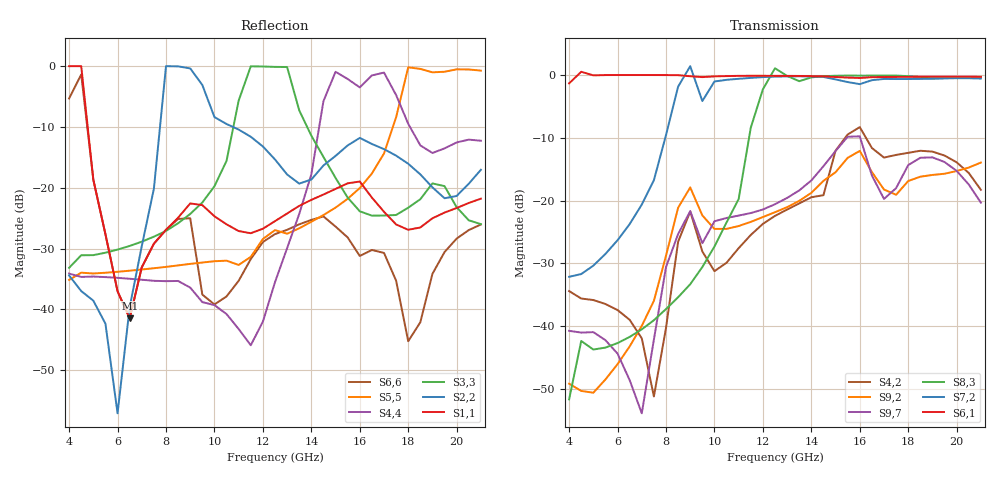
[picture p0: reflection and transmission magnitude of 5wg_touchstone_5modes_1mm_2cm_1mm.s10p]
! S-parameter export from POSTFEKO
! Filename: circular_5wg_5modes_1mm_2cm_1mm
! Creation date: 2020-01-18 23:31:34
# Hz S MA R  5.0000000E+01
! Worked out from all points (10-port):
!   35 points, 4 GHz to 21 GHz, reference 50 ohm
!   strongest paths, dB at 4 GHz, 8 GHz, 12.5 GHz, 17 GHz, 21 GHz:
!     S6,1: -1.3, 0.0, -0.1, -0.3, -0.3
!     S7,2: -32.2, -9.6, -0.3, -0.6, -0.6
!     S8,3: -51.7, -37.3, 1.1, -0.1, -0.4
!     S9,7: -40.8, -30.6, -20.6, -19.7, -20.3
!     S9,2: -49.2, -28.8, -21.9, -18.3, -14.0
!     S4,2: -34.4, -40.3, -22.5, -13.2, -18.3
!   lowest |S11| = -41.5 dB at 6.5 GHz (marker M1), VSWR 1.02, Z = 49.4 - j0.568 ohm
!   |S11| at or under -10 dB: 4.768 GHz to end of sweep
